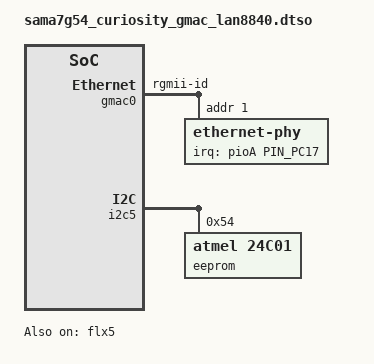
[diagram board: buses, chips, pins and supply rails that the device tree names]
// SPDX-License-Identifier: (GPL-2.0+ OR MIT)
/*
 * Device Tree file for SAMA7G54-Curiosity board overlay blob for the LAN8840 RGMII PHY Daughter Card.
 *
 * Copyright (C) 2024 Microchip Technology Inc. and its subsidiaries
 *
 * Author: Charan Pedumuru <charan.pedumuru@microchip.com>
 *
 */
/dts-v1/;
/plugin/;

#include <dt-bindings/interrupt-controller/irq.h>
#include <dt-bindings/mfd/atmel-flexcom.h>
#include <dt-bindings/pinctrl/at91.h>
#include "sama7g5-pinfunc.h"

&gmac0 {
	#address-cells = <1>;
	#size-cells = <0>;
	pinctrl-names = "default";
	pinctrl-0 = <&pinctrl_gmac0_default
		     &pinctrl_gmac0_mdio_default
		     &pinctrl_gmac0_txck_default
		     &pinctrl_gmac0_phy_irq>;
	magic-packet;
	phy-mode = "rgmii-id";
	status = "okay";

	ethernet-phy@1 {
		reg = <0x1>;
		interrupt-parent = <&pioA>;
		interrupts = <PIN_PC17 IRQ_TYPE_LEVEL_LOW>;
	};
};

&flx5 {
	atmel,flexcom-mode = <ATMEL_FLEXCOM_MODE_TWI>;
	status = "okay";

	i2c5: i2c@600 {
		#address-cells = <1>;
		#size-cells = <0>;
		pinctrl-names = "default";
		pinctrl-0 = <&pinctrl_flx5_default>;
		i2c-analog-filter;
		i2c-digital-filter;
		i2c-digital-filter-width-ns = <35>;
		status = "okay";

		eeprom@54 {
			compatible = "atmel,24c01";
			reg = <0x54>;
			pagesize = <8>;
		};
	};
};

&pioA {
	pinctrl_flx5_default: flx5-default {
		pinmux = <PIN_PA10__FLEXCOM5_IO0>,
			 <PIN_PA11__FLEXCOM5_IO1>;
		bias-pull-up;
	};

	pinctrl_gmac0_default: gmac0-default {
		pinmux = <PIN_PA16__G0_TX0>,
			 <PIN_PA17__G0_TX1>,
			 <PIN_PA26__G0_TX2>,
			 <PIN_PA27__G0_TX3>,
			 <PIN_PA19__G0_RX0>,
			 <PIN_PA20__G0_RX1>,
			 <PIN_PA28__G0_RX2>,
			 <PIN_PA29__G0_RX3>,
			 <PIN_PA15__G0_TXEN>,
			 <PIN_PA30__G0_RXCK>,
			 <PIN_PA18__G0_RXDV>,
			 <PIN_PA25__G0_125CK>;
		slew-rate = <0>;
		bias-disable;
	};

	pinctrl_gmac0_mdio_default: gmac0-mdio-default {
		pinmux = <PIN_PA22__G0_MDC>,
			 <PIN_PA23__G0_MDIO>;
		bias-disable;
	};

	pinctrl_gmac0_txck_default: gmac0-txck-default {
		pinmux = <PIN_PA24__G0_TXCK>;
		slew-rate = <0>;
		bias-pull-up;
	};

	pinctrl_gmac0_phy_irq: gmac0-phy-irq {
		pinmux = <PIN_PC17__EXT_IRQ0>;
		bias-disable;
	};
};

&{/} {
	model = "SAMA7G54-Curiosity: LAN8840 RGMII PHY Daughter Card";
};
